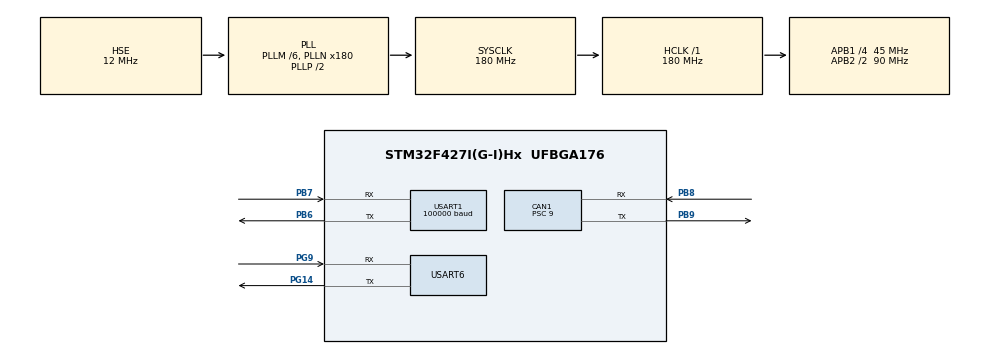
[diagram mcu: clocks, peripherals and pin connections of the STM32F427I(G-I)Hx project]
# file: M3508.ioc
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CAN1.BS1=CAN_BS1_3TQ
CAN1.CalculateBaudRate=1000000
CAN1.CalculateTimeBit=1000.00
CAN1.CalculateTimeQuantum=200.0
CAN1.Prescaler=9
Dma.Request0=USART1_RX
Dma.USART1_RX.0.Direction=DMA_PERIPH_TO_MEMORY
Dma.USART1_RX.0.FIFOMode=DMA_FIFOMODE_DISABLE
Dma.USART1_RX.0.Instance=DMA2_Stream2
Dma.USART1_RX.0.MemDataAlignment=DMA_MDATAALIGN_BYTE
Dma.USART1_RX.0.MemInc=DMA_MINC_ENABLE
Dma.USART1_RX.0.Mode=DMA_NORMAL
Dma.USART1_RX.0.PeriphDataAlignment=DMA_PDATAALIGN_BYTE
Dma.USART1_RX.0.PeriphInc=DMA_PINC_DISABLE
Dma.USART1_RX.0.Priority=DMA_PRIORITY_LOW
Mcu.Family=STM32F4
Mcu.Name=STM32F427I(G-I)Hx
Mcu.Package=UFBGA176
NVIC.CAN1_RX0_IRQn=true\:0\:0\:false\:false\:true\:true\:true
NVIC.DMA2_Stream2_IRQn=true\:0\:0\:false\:false\:true\:false\:true
NVIC.PriorityGroup=NVIC_PRIORITYGROUP_4
NVIC.USART1_IRQn=true\:0\:0\:false\:false\:true\:true\:true
NVIC.USART6_IRQn=true\:0\:0\:false\:false\:true\:true\:true
PA13.Mode=Serial_Wire
PA13.Signal=SYS_JTMS-SWDIO
PA14.Mode=Serial_Wire
PA14.Signal=SYS_JTCK-SWCLK
PB6.Mode=Asynchronous
PB6.Signal=USART1_TX
PB7.Mode=Asynchronous
PB7.Signal=USART1_RX
PB8.Mode=CAN_Activate
PB8.Signal=CAN1_RX
PB9.Mode=CAN_Activate
PB9.Signal=CAN1_TX
PG14.Mode=Asynchronous
PG14.Signal=USART6_TX
PG9.Mode=Asynchronous
PG9.Signal=USART6_RX
PH0/OSC_IN.Mode=HSE-External-Oscillator
PH0/OSC_IN.Signal=RCC_OSC_IN
PH1/OSC_OUT.Mode=HSE-External-Oscillator
PH1/OSC_OUT.Signal=RCC_OSC_OUT
ProjectManager.HeapSize=0x200
ProjectManager.StackSize=0x400
ProjectManager.TargetToolchain=MDK-ARM V5.32
RCC.48MHZClocksFreq_Value=90000000
RCC.AHBFreq_Value=180000000
RCC.APB1CLKDivider=RCC_HCLK_DIV4
RCC.APB1Freq_Value=45000000
RCC.APB1TimFreq_Value=90000000
RCC.APB2CLKDivider=RCC_HCLK_DIV2
RCC.APB2Freq_Value=90000000
RCC.APB2TimFreq_Value=180000000
RCC.CortexFreq_Value=180000000
RCC.HCLKFreq_Value=180000000
RCC.HSE_VALUE=12000000
RCC.HSI_VALUE=16000000
RCC.LSE_VALUE=32768
RCC.PLLM=6
RCC.PLLN=180
RCC.PLLSourceVirtual=RCC_PLLSOURCE_HSE
RCC.SYSCLKFreq_VALUE=180000000
RCC.SYSCLKSource=RCC_SYSCLKSOURCE_PLLCLK
RCC.VCOOutputFreq_Value=360000000
USART1.BaudRate=100000
USART1.Parity=PARITY_EVEN
USART1.VirtualMode=VM_ASYNC
USART1.WordLength=WORDLENGTH_9B
USART6.VirtualMode=VM_ASYNC
board=custom

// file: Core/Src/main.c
/* USER CODE BEGIN Header */
/**
  ******************************************************************************
  * @file           : main.c
  * @brief          : Main program body
  ******************************************************************************
  * @attention
  *
  * <h2><center>&copy; Copyright (c) 2022 STMicroelectronics.
  * All rights reserved.</center></h2>
  *
  * This software component is licensed by ST under BSD 3-Clause license,
  * the "License"; You may not use this file except in compliance with the
  * License. You may obtain a copy of the License at:
  *                        opensource.org/licenses/BSD-3-Clause
  *
  ******************************************************************************
  */
/* USER CODE END Header */
#include "main.h"
#include "can.h"
#include "dma.h"
#include "usart.h"
#include "gpio.h"

/* USER CODE BEGIN Includes */
#include "pid.h"
#include "math.h"
#include "stdlib.h"
#include "stdio.h"
/* USER CODE END Includes */

/* USER CODE BEGIN PV */
RC_Ctl_t RC_CtrlData = {
	.rc = {
		.ch1 = 1024,
		.ch0 = 1024,
		.ch2 = 1024,
	}
};
fp32 speed_pid_parameters1[] = {13,1,0};
fp32 speed_pid_parameters2[] = {13,1,0};
uint8_t receive_buff[255];
uint32_t uw_Tick;
RC rc_move;
int16_t Output1,Output2;
/* USER CODE END PV */

void SystemClock_Config(void);

int main(void)
{

  /* MCU Configuration--------------------------------------------------------*/

  /* Reset of all peripherals, Initializes the Flash interface and the Systick. */
  HAL_Init();

  /* Configure the system clock */
  SystemClock_Config();

  /* Initialize all configured peripherals */
  MX_GPIO_Init();
  MX_DMA_Init();
  MX_CAN1_Init();
  MX_USART1_UART_Init();
  MX_USART6_UART_Init();
  /* USER CODE BEGIN 2 */
	uw_Tick = HAL_GetTick();
	PID_Init(&speed_pid1, PID_POSITION, speed_pid_parameters1, 20000, 20000);
	PID_Init(&speed_pid2, PID_POSITION, speed_pid_parameters2, 20000, 20000);
	USER_CAN_Start();
	__HAL_UART_ENABLE_IT(&huart1, UART_IT_IDLE);
	HAL_UART_Receive_DMA(&huart1, (uint8_t*)receive_buff, 255);
  /* USER CODE END 2 */

  /* Infinite loop */
  while (1)
  {

    /* USER CODE BEGIN 3 */
		rc_move.motor1 = RC_CtrlData.rc.ch1-1024;
		rc_move.motor2 = RC_CtrlData.rc.ch1-1024;
		Output1 = PID_Calc(&speed_pid1, motor_1.Speed, rc_move.motor1);
		Output2 = PID_Calc(&speed_pid2, motor_2.Speed, rc_move.motor2);
		if(HAL_GetTick() - uw_Tick > 50)//掉电
		{
			RC_CtrlData.rc.ch0 = 1024;
			RC_CtrlData.rc.ch1 = 1024;
			RC_CtrlData.rc.ch2 = 1024;
		}
		GM_SetCurrent(0x200,Output1,Output2,0,0);
		printf("MotorSpeed1 = %f,MotorSpeed2 = %f",(double)motor_1.Speed,(double)motor_2.Speed);
  }
  /* USER CODE END 3 */
}

void SystemClock_Config(void)
{
  RCC_OscInitTypeDef RCC_OscInitStruct = {0};
  RCC_ClkInitTypeDef RCC_ClkInitStruct = {0};

  /** Configure the main internal regulator output voltage
  */
  __HAL_RCC_PWR_CLK_ENABLE();
  __HAL_PWR_VOLTAGESCALING_CONFIG(PWR_REGULATOR_VOLTAGE_SCALE1);
  /** Initializes the RCC Oscillators according to the specified parameters
  * in the RCC_OscInitTypeDef structure.
  */
  RCC_OscInitStruct.OscillatorType = RCC_OSCILLATORTYPE_HSE;
  RCC_OscInitStruct.HSEState = RCC_HSE_ON;
  RCC_OscInitStruct.PLL.PLLState = RCC_PLL_ON;
  RCC_OscInitStruct.PLL.PLLSource = RCC_PLLSOURCE_HSE;
  RCC_OscInitStruct.PLL.PLLM = 6;
  RCC_OscInitStruct.PLL.PLLN = 180;
  RCC_OscInitStruct.PLL.PLLP = RCC_PLLP_DIV2;
  RCC_OscInitStruct.PLL.PLLQ = 4;
  if (HAL_RCC_OscConfig(&RCC_OscInitStruct) != HAL_OK)
  {
    Error_Handler();
  }
  /** Activate the Over-Drive mode
  */
  if (HAL_PWREx_EnableOverDrive() != HAL_OK)
  {
    Error_Handler();
  }
  /** Initializes the CPU, AHB and APB buses clocks
  */
  RCC_ClkInitStruct.ClockType = RCC_CLOCKTYPE_HCLK|RCC_CLOCKTYPE_SYSCLK
                              |RCC_CLOCKTYPE_PCLK1|RCC_CLOCKTYPE_PCLK2;
  RCC_ClkInitStruct.SYSCLKSource = RCC_SYSCLKSOURCE_PLLCLK;
  RCC_ClkInitStruct.AHBCLKDivider = RCC_SYSCLK_DIV1;
  RCC_ClkInitStruct.APB1CLKDivider = RCC_HCLK_DIV4;
  RCC_ClkInitStruct.APB2CLKDivider = RCC_HCLK_DIV2;

  if (HAL_RCC_ClockConfig(&RCC_ClkInitStruct, FLASH_LATENCY_5) != HAL_OK)
  {
    Error_Handler();
  }
}

/* USER CODE BEGIN 4 */
void RemoteDataProcess(uint8_t *pData)
{
 if(pData == NULL)
 {
		return;
 }

 RC_CtrlData.rc.ch0 = ((int16_t)pData[0] | ((int16_t)pData[1] << 8)) & 0x07FF;
 RC_CtrlData.rc.ch1 = (((int16_t)pData[1] >> 3) | ((int16_t)pData[2] << 5))
& 0x07FF;
 RC_CtrlData.rc.ch2 = (((int16_t)pData[2] >> 6) | ((int16_t)pData[3] << 2) |
 ((int16_t)pData[4] << 10)) & 0x07FF;
 RC_CtrlData.rc.ch3 = (((int16_t)pData[4] >> 1) | ((int16_t)pData[5]<<7)) &
0x07FF;

 RC_CtrlData.rc.s1 = ((pData[5] >> 4) & 0x000C) >> 2;
 RC_CtrlData.rc.s2 = ((pData[5] >> 4) & 0x0003);
 RC_CtrlData.mouse.x = ((int16_t)pData[6]) | ((int16_t)pData[7] << 8);
 RC_CtrlData.mouse.y = ((int16_t)pData[8]) | ((int16_t)pData[9] << 8);
 RC_CtrlData.mouse.z = ((int16_t)pData[10]) | ((int16_t)pData[11] << 8);
 RC_CtrlData.mouse.press_l = pData[12];
 RC_CtrlData.mouse.press_r = pData[13];
 RC_CtrlData.key.v = ((int16_t)pData[14]);// | ((int16_t)pData[15] << 8);
 //your control code ??.
}
int fputc(int ch, FILE *f)
{
	HAL_UART_Transmit(&huart6,(uint8_t *)&ch,1,HAL_MAX_DELAY);
	return ch;
}
/* USER CODE END 4 */

void Error_Handler(void)
{
  __disable_irq();
  while (1)
  {
  }
}

/************************ (C) COPYRIGHT STMicroelectronics *****END OF FILE****/
